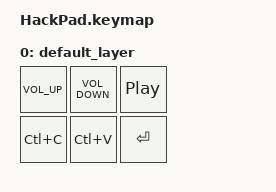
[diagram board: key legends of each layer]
#include <behaviors.dtsi>
#include <dt-bindings/zmk/keys.h>

/ {
    keymap {
        compatible = "zmk,keymap";

        default_layer {
            bindings = <
                &kp C_VOL_UP      &kp C_VOL_DOWN    &kp C_PLAY_PAUSE
                &kp LC(C)         &kp LC(V)         &kp ENTER
            >;
        };
    };
};
